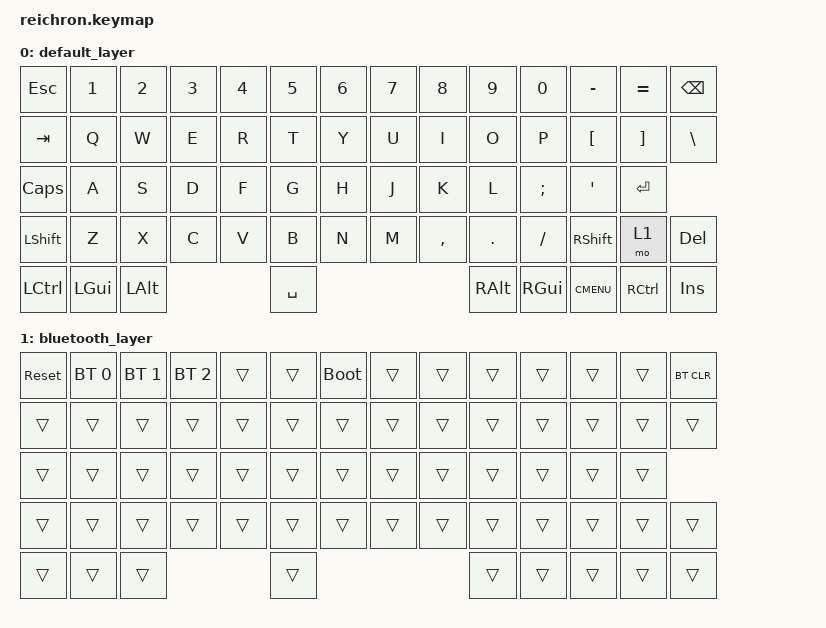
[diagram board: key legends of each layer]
/*
 * Visual Layout Guide:
 * 
 * Layer 0 (Default):
 * ┌───┬───┬───┬───┬───┬───┬───┬───┬───┬───┬───┬───┬───┬───────┐
 * │ESC│ 1 │ 2 │ 3 │ 4 │ 5 │ 6 │ 7 │ 8 │ 9 │ 0 │ - │ = │ BKSP  │
 * ├───┴─┬─┴─┬─┴─┬─┴─┬─┴─┬─┴─┬─┴─┬─┴─┬─┴─┬─┴─┬─┴─┬─┴─┬─┴─┬─────┤
 * │ TAB │ Q │ W │ E │ R │ T │ Y │ U │ I │ O │ P │ [ │ ] │  \  │
 * ├─────┴┬──┴┬──┴┬──┴┬──┴┬──┴┬──┴┬──┴┬──┴┬──┴┬──┴┬──┴┬──┴─────┤
 * │ CAPS │ A │ S │ D │ F │ G │ H │ J │ K │ L │ ; │ ' │  ENTER │
 * ├──────┴─┬─┴─┬─┴─┬─┴─┬─┴─┬─┴─┬─┴─┬─┴─┬─┴─┬─┴─┬─┴─┬─┴──┬─┴──┬─────┤
 * │ SHIFT  │ Z │ X │ C │ V │ B │ N │ M │ , │ . │ / │RSH │ L1 │ DEL │
 * ├────┬───┴┬──┴─┬─┴───┴───┴───┴───┴───┴──┬┴───┼───┴┬───┴┬───┴─────┤
 * │CTL │GUI │ALT │        SPACE           │ALT │GUI │MNU │CTL│ INS │
 * └────┴────┴────┴────────────────────────┴────┴────┴────┴───┴─────┘
 * 
 * Layer 1 (System/Function):
 * ┌───┬───┬───┬───┬───┬───┬───┬───┬───┬───┬───┬───┬───┬───────┐
 * │RST│BT0│BT1│BT2│   │   │BTL│   │   │   │   │   │   │ BTCLR │
 * ├───┴─┬─┴─┬─┴─┬─┴─┬─┴─┬─┴─┬─┴─┬─┴─┬─┴─┬─┴─┬─┴─┬─┴─┬─┴─┬─────┤
 * │     │   │   │   │   │   │   │   │   │   │   │   │   │     │
 * ├─────┴┬──┴┬──┴┬──┴┬──┴┬──┴┬──┴┬──┴┬──┴┬──┴┬──┴┬──┴┬──┴─────┤
 * │      │   │   │   │   │   │   │   │   │   │   │   │        │
 * ├──────┴─┬─┴─┬─┴─┬─┴─┬─┴─┬─┴─┬─┴─┬─┴─┬─┴─┬─┴─┬─┴─┬─┴──┬─┴──┬─────┤
 * │        │   │   │   │   │   │   │   │   │   │   │    │    │     │
 * ├────┬───┴┬──┴─┬─┴───┴───┴───┴───┴───┴──┬┴───┼───┴┬───┴┬───┴─────┤
 * │    │    │    │                        │    │    │    │   │     │
 * └────┴────┴────┴────────────────────────┴────┴────┴────┴───┴─────┘
 * 
 * Key Functions:
 * RST: System Reset | BT0-BT4: Bluetooth profiles | BTL: Bootloader | BTCLR: Clear BT bonds
 * USB: Force USB output | BLE: Force Bluetooth | TOG: Toggle USB/BLE output
 */

#include <behaviors.dtsi>
#include <dt-bindings/zmk/keys.h>
#include <dt-bindings/zmk/bt.h>

/ {
    keymap {
        compatible = "zmk,keymap";
        
        default_layer {
            bindings = <
&kp ESC   &kp N1   &kp N2   &kp N3   &kp N4   &kp N5   &kp N6   &kp N7    &kp N8    &kp N9   &kp N0    &kp MINUS &kp EQUAL &kp BSPC
&kp TAB   &kp Q    &kp W    &kp E    &kp R    &kp T    &kp Y    &kp U     &kp I     &kp O    &kp P     &kp LBKT  &kp RBKT  &kp BSLH
&kp CAPS  &kp A    &kp S    &kp D    &kp F    &kp G    &kp H    &kp J     &kp K     &kp L    &kp SEMI  &kp SQT   &kp RET
&kp LSHFT &kp Z    &kp X    &kp C    &kp V    &kp B    &kp N    &kp M     &kp COMMA &kp DOT  &kp FSLH  &kp RSHFT &mo 1     &kp DEL
&kp LCTRL &kp LGUI &kp LALT                      &kp SPACE                          &kp RALT &kp RGUI  &kp K_CMENU &kp RCTRL &kp INS
            >;
        };
        
        bluetooth_layer {
            bindings = <
&sys_reset &bt BT_SEL 0 &bt BT_SEL 1 &bt BT_SEL 2 &trans       &trans       &bootloader &trans       &trans       &trans       &trans &trans &trans &bt BT_CLR
&trans     &trans       &trans       &trans       &trans       &trans       &trans      &trans       &trans       &trans       &trans &trans &trans &trans
&trans     &trans       &trans       &trans       &trans       &trans       &trans      &trans       &trans       &trans       &trans &trans        &trans
&trans     &trans       &trans       &trans       &trans       &trans       &trans      &trans       &trans       &trans       &trans &trans &trans &trans
&trans     &trans       &trans                    &trans                                &trans       &trans       &trans       &trans &trans
            >;
        };
    };
};
